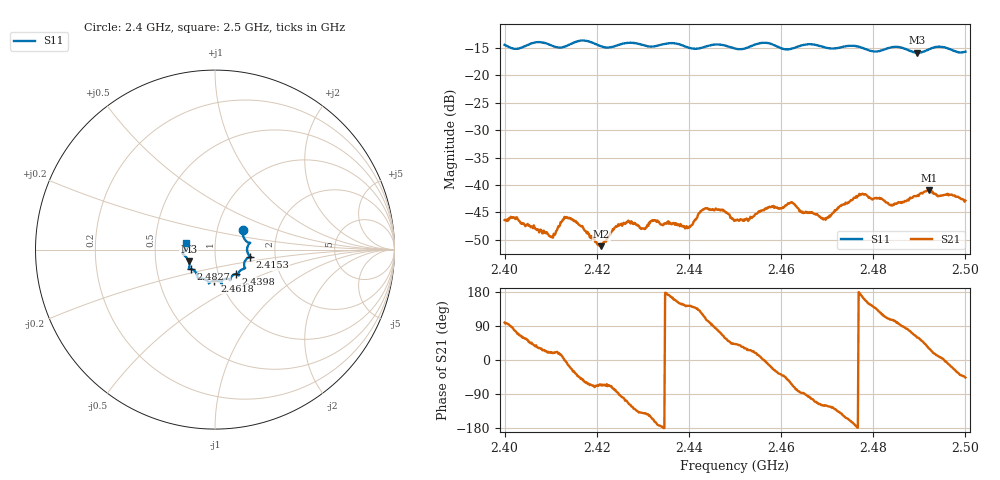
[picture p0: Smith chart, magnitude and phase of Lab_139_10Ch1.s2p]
# Hz S RI R 50
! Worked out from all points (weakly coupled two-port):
!   601 points, 2.4 GHz to 2.5 GHz, reference 50 ohm
!   highest |S21| = -40.97 dB at 2.4922 GHz (marker M1); lowest = -51.2 dB at 2.421 GHz (marker M2)
!   lowest |S11| = -15.9 dB at 2.4895 GHz (marker M3), VSWR 1.38, Z = 37 - j5.03 ohm
!   |S11| at or under -10 dB: start of sweep to end of sweep
!   S12 and S22 are empty: the file has one direction only
!   S11 on the Smith chart (normalised r, x): 2.4 GHz: 1.33, +0.29; 2.4153 GHz: 1.48, -0.12; 2.4398 GHz: 1.21, -0.34; 2.4618 GHz: 0.94, -0.33; 2.4827 GHz: 0.75, -0.17; 2.5 GHz: 0.72, +0.06
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2.4e9  0.1555 0.1068  -0.000742 0.00473  0 0  0 0
2.402167e9  0.1585 0.0715  0.00107 0.00493  0 0  0 0
2.41e9  0.186 0.0265  0.00323 0.0011  0 0  0 0
2.413e9  0.1811 -0.015  0.00512 -7.7e-05  0 0  0 0
2.415333e9  0.1966 -0.0397  0.0038 -0.00265  0 0  0 0
2.416667e9  0.2022 -0.0437  0.00277 -0.00316  0 0  0 0
2.421e9  0.1747 -0.0535  0.00107 -0.00256  0 0  0 0
2.424833e9  0.164 -0.095  -0.000131 -0.00426  0 0  0 0
2.433333e9  0.1302 -0.1335  -0.0046 -0.000641  0 0  0 0
2.439833e9  0.1157 -0.1361  -0.00327 0.00247  0 0  0 0
2.443667e9  0.0863 -0.1609  -0.0019 0.00584  0 0  0 0
2.45e9  0.065 -0.1624  0.00356 0.00324  0 0  0 0
2.456333e9  0.0385 -0.1939  0.00588 -5.53e-06  0 0  0 0
2.461833e9  -0.00307 -0.1722  0.0037 -0.0057  0 0  0 0
2.466667e9  -0.0344 -0.1881  -0.00124 -0.00553  0 0  0 0
2.469667e9  -0.0448 -0.1728  -0.00239 -0.00418  0 0  0 0
2.4775e9  -0.098 -0.1486  -0.00806 0.00156  0 0  0 0
2.482667e9  -0.1347 -0.1085  -0.00274 0.00642  0 0  0 0
2.483333e9  -0.1398 -0.1082  -0.00218 0.00632  0 0  0 0
2.4895e9  -0.1457 -0.0662  0.00407 0.00686  0 0  0 0
2.492167e9  -0.1693 -0.0326  0.00776 0.00444  0 0  0 0
2.5e9  -0.1593 0.0384  0.00497 -0.00521  0 0  0 0
